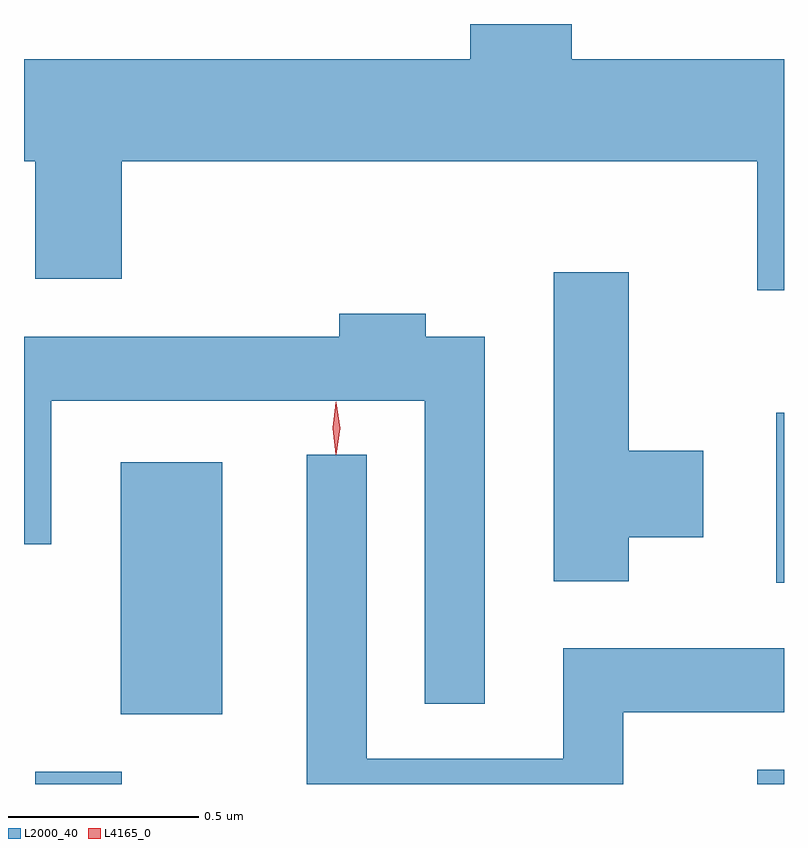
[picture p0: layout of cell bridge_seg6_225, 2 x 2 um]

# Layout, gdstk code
import gdstk
lib = gdstk.Library(unit=1e-6, precision=1e-09)
def R(c, l, rs):  # rectangles x0, y0, x1, y1
    for r in rs: c.add(gdstk.rectangle(r[:2], r[2:], *l))
def P(c, l, *ps):  # polygons
    for p in ps: c.add(gdstk.Polygon(p, *l))
L2000_40 = (2000, 40)
L4165_0 = (4165, 0)

bridge_seg6_225 = lib.new_cell('bridge_seg6_225')
R(bridge_seg6_225, L2000_40, [(1093.051,1550.617,1093.279,1550.649), (1094.951,1550.617,1095.022,1550.654), (1093.276,1550.801,1093.544,1551.464), (1095.001,1551.146,1095.022,1551.594)])
P(bridge_seg6_225, L2000_40, [(1095.022,1552.524),(1094.464,1552.524),(1094.464,1552.617),(1094.196,1552.617),(1094.196,1552.524),(1093.022,1552.524),(1093.022,1552.256),(1093.051,1552.256),(1093.051,1551.946),(1093.279,1551.946),(1093.279,1552.256),(1094.951,1552.256),(1094.951,1551.916),(1095.022,1551.916)],
  [(1094.614,1551.266),(1094.809,1551.266),(1094.809,1551.494),(1094.614,1551.494),(1094.614,1551.964),(1094.416,1551.964),(1094.416,1551.151),(1094.614,1551.151)],
  [(1094.234,1551.794),(1094.079,1551.794),(1094.079,1551.854),(1093.851,1551.854),(1093.851,1551.794),(1093.022,1551.794),(1093.022,1551.248),(1093.094,1551.248),(1093.094,1551.626),(1094.076,1551.626),(1094.076,1550.828),(1094.234,1550.828)],
  [(1094.599,1550.806),(1095.022,1550.806),(1095.022,1550.974),(1094.441,1550.974),(1094.441,1550.684),(1093.924,1550.684),(1093.924,1551.483),(1093.766,1551.483),(1093.766,1550.617),(1094.599,1550.617)])
P(bridge_seg6_225, L4165_0, [(1093.843,1551.487),(1093.834,1551.554),(1093.843,1551.62),(1093.843,1551.62),(1093.844,1551.62),(1093.853,1551.554),(1093.844,1551.487),(1093.844,1551.487)],
  [(1093.843,1551.484),(1093.834,1551.553),(1093.843,1551.622),(1093.844,1551.623),(1093.844,1551.622),(1093.854,1551.553),(1093.844,1551.484),(1093.844,1551.484)])

lib.write_gds('bridge_seg6_225.gds')
